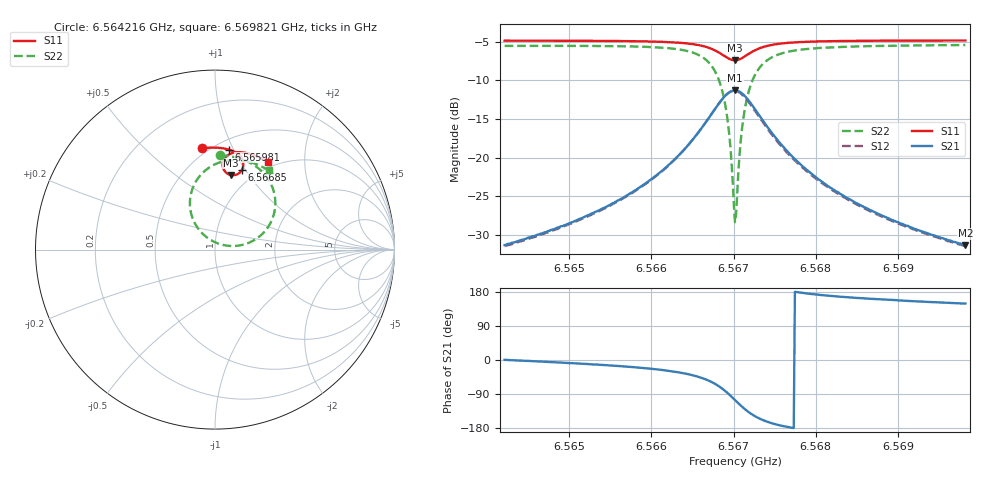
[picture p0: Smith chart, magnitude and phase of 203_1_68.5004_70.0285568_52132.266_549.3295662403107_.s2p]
#  HZ  S  RI  R  50.00
! Rohde & Schwarz Vector Network Analyzer
! Rohde-Schwarz,ZNB20-2Port,1311601062101988,3.16
! Created: UTC 3/20/2024, 4:57:42 PM
! freq[Hz]  re:S11  im:S11  re:S21  im:S21  re:S12  im:S12  re:S22  im:S22
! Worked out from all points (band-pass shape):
!   401 points, 6.564216 GHz to 6.569821 GHz, reference 50 ohm
!   highest |S21| = -11.31 dB at 6.567018 GHz (marker M1); lowest = -31.4 dB at 6.569821 GHz (marker M2)
!   |S21| within 3 dB of the highest: 6.566737 GHz to 6.567298 GHz (560.7 kHz wide, 0.00854 % of centre)
!   lowest |S11| = -7.4 dB at 6.567018 GHz (marker M3), VSWR 2.48, Z = 40.7 + j41.3 ohm
!   |S11| at or under -10 dB: nowhere
!   |S22| runs from -28.4 to -5.5 dB; largest |S21 - S12| = 0.013
!   S11 on the Smith chart (normalised r, x): 6.564216 GHz: 0.46, +0.77; 6.565981 GHz: 0.59, +0.96; 6.56685 GHz: 0.85, +0.96; 6.569821 GHz: 0.92, +1.33
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6.5642157e9  -0.0735 0.5645  0.0272 0.000151  0.0268 -0.00042  0.0264 0.526
6.5651545e9  0.00303 0.568  0.04 -0.00694  0.0393 -0.00742  0.114 0.5139
6.5659812e9  0.0789 0.5568  0.0656 -0.0275  0.0646 -0.0283  0.2177 0.4706
6.5660933e9  0.0905 0.553  0.0715 -0.034  0.0704 -0.0348  0.2358 0.4575
6.5664016e9  0.1254 0.5343  0.092 -0.0653  0.0906 -0.0666  0.2946 0.3953
6.5666258e9  0.1508 0.5038  0.1056 -0.1184  0.1032 -0.1206  0.3338 0.2933
6.5667519e9  0.1577 0.4734  0.0983 -0.1713  0.094 -0.1745  0.3265 0.1918
6.56685e9  0.1494 0.4429  0.0665 -0.2239  0.0589 -0.2267  0.2699 0.0933
6.566892e9  0.1394 0.4303  0.0407 -0.2449  0.0317 -0.2467  0.2229 0.0554
6.566934e9  0.1249 0.42  0.00746 -0.2605  -0.0032 -0.2604  0.1618 0.0287
6.5669621e9  0.1131 0.4159  -0.0186 -0.2661  -0.0297 -0.2642  0.1153 0.0205
6.5670041e9  0.0939 0.4146  -0.0597 -0.2648  -0.0711 -0.2602  0.042 0.0266
6.5670181e9  0.0873 0.4158  -0.0735 -0.2617  -0.0846 -0.256  0.018 0.0337
6.5670461e9  0.0752 0.4199  -0.0995 -0.2515  -0.1097 -0.2439  -0.0261 0.0548
6.5670882e9  0.0596 0.4309  -0.1326 -0.228  -0.1406 -0.2181  -0.0805 0.1006
6.5671302e9  0.0489 0.4455  -0.1563 -0.1982  -0.1615 -0.1874  -0.1168 0.1558
6.5671863e9  0.0428 0.4665  -0.1728 -0.1565  -0.1745 -0.1459  -0.1383 0.2304
6.5672563e9  0.0451 0.49  -0.1751 -0.1107  -0.1743 -0.1016  -0.1339 0.3103
6.5675085e9  0.0833 0.533  -0.1328 -0.0246  -0.1298 -0.0208  -0.0374 0.4538
6.5679569e9  0.1439 0.5427  -0.0776 0.00828  -0.0757 0.00935  0.0906 0.4986
6.5688957e9  0.2298 0.521  -0.0374 0.0147  -0.0366 0.015  0.2203 0.4795
6.5698205e9  0.2974 0.4874  -0.0232 0.0139  -0.0227 0.0141  0.2994 0.4418
